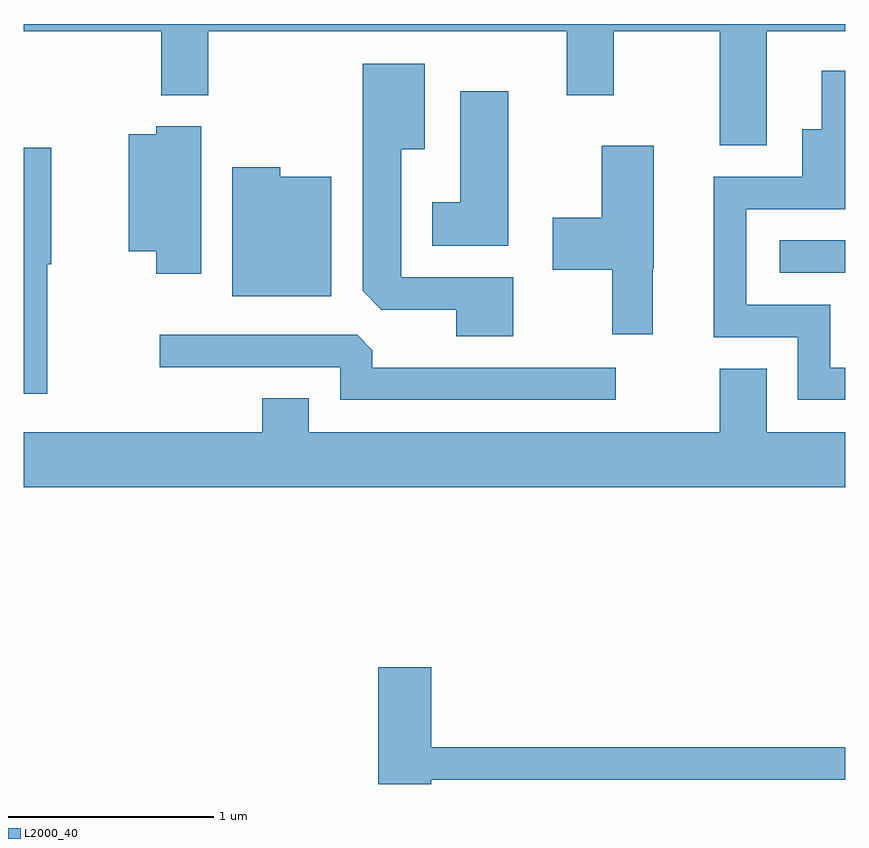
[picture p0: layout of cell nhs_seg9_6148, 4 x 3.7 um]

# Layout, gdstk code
import gdstk
lib = gdstk.Library(unit=1e-6, precision=1e-09)
def R(c, l, rs):  # rectangles x0, y0, x1, y1
    for r in rs: c.add(gdstk.rectangle(r[:2], r[2:], *l))
def P(c, l, *ps):  # polygons
    for p in ps: c.add(gdstk.Polygon(p, *l))
L2000_40 = (2000, 40)

nhs_seg9_6148 = lib.new_cell('nhs_seg9_6148')
R(nhs_seg9_6148, L2000_40, [(369.293,2077.221,369.611,2077.379)])
P(nhs_seg9_6148, L2000_40, [(369.229,2078.396),(369.611,2078.396),(369.611,2078.432),(365.611,2078.432),(365.611,2078.396),(366.281,2078.396),(366.281,2078.086),(366.509,2078.086),(366.509,2078.396),(368.256,2078.396),(368.256,2078.086),(368.484,2078.086),(368.484,2078.396),(369.001,2078.396),(369.001,2077.841),(369.229,2077.841)],
  [(367.994,2077.199),(367.449,2077.199),(367.449,2077.821),(367.564,2077.821),(367.564,2078.239),(367.261,2078.239),(367.261,2077.132),(367.352,2077.041),(367.716,2077.041),(367.716,2076.911),(367.994,2076.911)],
  [(369.611,2076.759),(369.539,2076.759),(369.539,2077.064),(369.129,2077.064),(369.129,2077.531),(369.611,2077.531),(369.611,2078.204),(369.496,2078.204),(369.496,2077.919),(369.401,2077.919),(369.401,2077.689),(368.971,2077.689),(368.971,2076.906),(369.381,2076.906),(369.381,2076.601),(369.611,2076.601)],
  [(367.969,2078.104),(367.736,2078.104),(367.736,2077.564),(367.601,2077.564),(367.601,2077.351),(367.969,2077.351)],
  [(366.474,2077.934),(366.256,2077.934),(366.256,2077.894),(366.121,2077.894),(366.121,2077.326),(366.256,2077.326),(366.256,2077.216),(366.474,2077.216)],
  [(368.674,2077.24),(368.679,2077.24),(368.679,2077.839),(368.426,2077.839),(368.426,2077.489),(368.186,2077.489),(368.186,2077.236),(368.476,2077.236),(368.476,2076.921),(368.674,2076.921)],
  [(365.724,2077.261),(365.744,2077.261),(365.744,2077.829),(365.611,2077.829),(365.611,2076.631),(365.724,2076.631)],
  [(367.109,2077.689),(366.859,2077.689),(366.859,2077.734),(366.626,2077.734),(366.626,2077.106),(367.109,2077.106)],
  [(368.493,2076.759),(367.309,2076.759),(367.309,2076.844),(367.234,2076.919),(366.273,2076.919),(366.273,2076.761),(367.151,2076.761),(367.151,2076.601),(368.493,2076.601)],
  [(369.611,2076.444),(369.229,2076.444),(369.229,2076.754),(369.001,2076.754),(369.001,2076.444),(366.999,2076.444),(366.999,2076.609),(366.771,2076.609),(366.771,2076.444),(365.611,2076.444),(365.611,2076.176),(369.611,2076.176)],
  [(367.594,2074.751),(369.611,2074.751),(369.611,2074.909),(367.594,2074.909),(367.594,2075.299),(367.336,2075.299),(367.336,2074.731),(367.594,2074.731)])

lib.write_gds('nhs_seg9_6148.gds')
